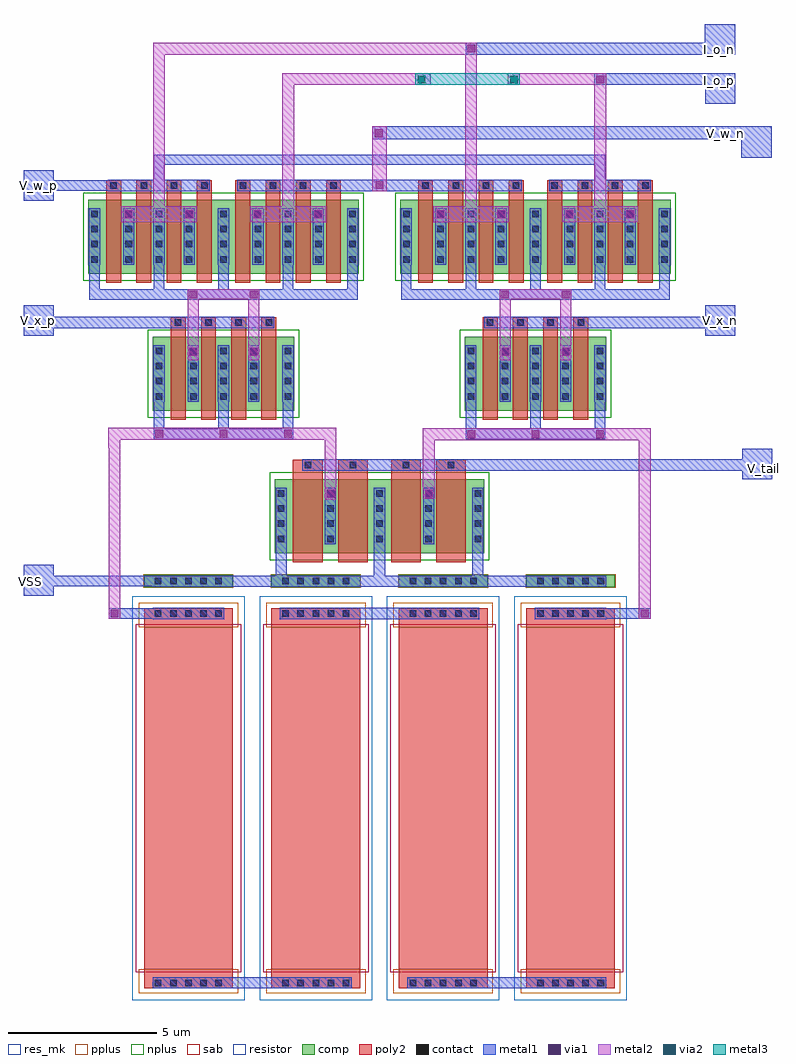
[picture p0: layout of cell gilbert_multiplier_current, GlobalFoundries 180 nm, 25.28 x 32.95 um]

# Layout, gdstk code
from math import pi, radians
import gdstk
lib = gdstk.Library(unit=1e-6, precision=5e-09)
def R(c, l, rs):  # rectangles x0, y0, x1, y1
    for r in rs: c.add(gdstk.rectangle(r[:2], r[2:], *l))
def A(c, l, x, y, w, h, nx, ny, dx, dy):  # array of equal rectangles
    R(c, l, [(x+i*dx, y+j*dy, x+i*dx+w, y+j*dy+h) for i in range(nx) for j in range(ny)])
comp = (22, 0)
poly2 = (30, 0)
pplus = (31, 0)
nplus = (32, 0)
contact = (33, 0)
metal1 = (34, 0)
via1 = (35, 0)
metal2 = (36, 0)
via2 = (38, 0)
metal3 = (42, 0)
sab = (49, 0)
resistor = (62, 0)
res_mk = (110, 5)

nfet_1 = lib.new_cell('nfet$1')
R(nfet_1, comp, [(-0.42,0,0,2.5), (0,0,2.9,2.5), (2.9,0,3.32,2.5)])
R(nfet_1, poly2, [(0.19,-0.3,1.19,2.8), (1.71,-0.3,2.71,2.8), (0.19,2.8,1.19,3.16), (1.71,2.8,2.71,3.16)])
R(nfet_1, nplus, [(-0.59,-0.24,3.49,2.74)])
A(nfet_1, contact, -0.32, 0.375, 0.22, 0.22, 3, 4, 1.66, 0.51)
R(nfet_1, contact, [(0.58,2.87,0.8,3.09), (2.1,2.87,2.32,3.09)])
A(nfet_1, metal1, -0.4, 0.295, 0.38, 1.91, 3, 1, 1.66, 0)
R(nfet_1, metal1, [(0.5,2.79,0.88,3.17), (2.02,2.79,2.4,3.17)])

nfet_2 = lib.new_cell('nfet$2')
R(nfet_2, comp, [(-0.42,0,0,2.5), (0,0,3.94,2.5), (3.94,0,4.36,2.5)])
A(nfet_2, poly2, 0.19, -0.3, 0.5, 3.1, 4, 1, 1.02, 0)
A(nfet_2, poly2, 0.19, 2.8, 0.5, 0.36, 4, 1, 1.02, 0)
R(nfet_2, nplus, [(-0.59,-0.24,4.53,2.74)])
A(nfet_2, contact, -0.32, 0.375, 0.22, 0.22, 1, 4, 0, 0.51)
A(nfet_2, contact, 0.84, 0.375, 0.22, 0.22, 3, 4, 1.02, 0.51)
A(nfet_2, contact, 4.04, 0.375, 0.22, 0.22, 1, 4, 0, 0.51)
A(nfet_2, contact, 0.33, 2.87, 0.22, 0.22, 4, 1, 1.02, 0)
A(nfet_2, metal1, 0.76, 0.295, 0.38, 1.91, 3, 1, 1.02, 0)
A(nfet_2, metal1, 0.25, 2.79, 0.38, 0.38, 4, 1, 1.02, 0)
R(nfet_2, metal1, [(-0.4,0.295,-0.02,2.205), (3.96,0.295,4.34,2.205)])

ppolyf_u_high_rs_resisto = lib.new_cell('ppolyf_u_high_Rs_resistor$1')
R(ppolyf_u_high_rs_resisto, comp, [(-1.76,0,-1.34,3)])
R(ppolyf_u_high_rs_resisto, poly2, [(-0.64,0,12.19,3)])
R(ppolyf_u_high_rs_resisto, pplus, [(-0.82,-0.18,0,3.18), (11.55,-0.18,12.37,3.18), (-1.78,-0.02,-1.32,3.02)])
A(ppolyf_u_high_rs_resisto, contact, -1.66, 0.37, 0.22, 0.22, 1, 5, 0, 0.51)
A(ppolyf_u_high_rs_resisto, contact, -0.57, 0.37, 0.22, 0.22, 1, 5, 0, 0.51)
A(ppolyf_u_high_rs_resisto, contact, 11.9, 0.37, 0.22, 0.22, 1, 5, 0, 0.51)
R(ppolyf_u_high_rs_resisto, metal1, [(-1.74,0.29,-1.36,2.71), (-0.65,0.29,-0.27,2.71), (11.82,0.29,12.2,2.71)])
R(ppolyf_u_high_rs_resisto, sab, [(-0.1,-0.28,11.65,3.28)])
R(ppolyf_u_high_rs_resisto, resistor, [(-1.04,-0.4,12.59,3.4)])
R(ppolyf_u_high_rs_resisto, res_mk, [(0,0,11.55,3)])

gilbert_multiplier_curre = lib.new_cell('gilbert_multiplier_current')
R(gilbert_multiplier_curre, metal1, [(-5.165,-0.265,1.555,0.115), (3.435,-0.265,10.155,0.115), (-0.865,12.205,5.855,12.585), (-9.52,13,-8.495,14.035), (-5.165,13.295,10.155,13.675), (14.745,16.925,15.76,17.96), (-0.115,17.22,5.105,17.6), (-9.52,21.765,-8.495,22.8), (13.485,21.765,14.51,22.8), (-8.495,22.03,-1.05,22.415), (6.04,22.03,13.485,22.415), (-9.52,26.33,-8.495,27.365), (-6.67,26.655,-3.23,27.035), (-2.31,26.655,7.3,27.035), (8.22,26.655,11.66,27.035), (14.715,27.78,15.74,28.84), (2.255,28.405,14.715,28.84), (13.485,29.6,14.51,30.635), (9.745,30.24,13.485,30.64), (5.405,31.26,13.48,31.66), (13.48,31.26,14.505,32.295)])
R(gilbert_multiplier_curre, via1, [(-6.585,12.265,-6.325,12.525), (11.32,12.265,11.58,12.525), (0.72,16.305,0.98,16.565), (4.035,16.305,4.295,16.565), (5.46,18.315,5.72,18.575), (7.63,18.315,7.89,18.575), (9.81,18.315,10.07,18.575), (-5.07,18.33,-4.81,18.59), (-2.9,18.33,-2.64,18.59), (-0.72,18.33,-0.46,18.59), (-3.925,21.1,-3.665,21.36), (-1.88,21.1,-1.62,21.36), (6.615,21.1,6.875,21.36), (8.66,21.1,8.92,21.36), (-3.925,23.03,-3.665,23.29), (-1.88,23.03,-1.62,23.29), (6.605,23.03,6.865,23.29), (8.65,23.03,8.91,23.29), (-6.11,25.74,-5.85,26), (-4.055,25.74,-3.795,26), (-1.75,25.74,-1.49,26), (0.3,25.74,0.56,26), (4.42,25.74,4.68,26), (6.475,25.74,6.735,26), (8.78,25.74,9.04,26), (10.83,25.74,11.09,26), (2.37,26.725,2.63,26.985), (2.34,28.48,2.6,28.74), (9.82,30.295,10.08,30.555), (5.46,31.34,5.72,31.6)])
R(gilbert_multiplier_curre, metal2, [(-6.65,12.22,-6.255,17.99), (11.25,12.22,11.645,17.99), (-3.98,20.935,-3.6,23.01), (-1.94,20.935,-1.56,23.01), (6.55,20.935,6.93,23.01), (8.59,20.935,8.97,23.01), (-3.98,23.01,-1.56,23.335), (6.55,23.01,8.97,23.335), (-6.23,25.595,-3.67,26.15), (-1.87,25.595,0.69,26.15), (4.305,25.595,6.865,26.15), (8.665,25.595,11.225,26.15), (2.255,26.655,2.735,28.84)])
R(gilbert_multiplier_curre, via2, [(3.78,30.295,4.04,30.555), (6.905,30.295,7.165,30.555)])
R(gilbert_multiplier_curre, metal3, [(3.71,30.24,7.23,30.64)])
gilbert_multiplier_curre.add(gdstk.FlexPath([(5.105,17.41),(14.745,17.41)], 0.38, ends="flush", simple_path=True, layer=34, datatype=0))  # metal1
gilbert_multiplier_curre.add(gdstk.FlexPath([(-0.825,14.725),(-0.825,13.675)], 0.38, ends="flush", simple_path=True, layer=34, datatype=0))  # metal1
gilbert_multiplier_curre.add(gdstk.FlexPath([(-5.165,13.485),(-8.985,13.485)], 0.35, ends="flush", simple_path=True, layer=34, datatype=0))  # metal1
gilbert_multiplier_curre.add(gdstk.FlexPath([(-4.95,19.535),(-4.95,18.455),(-0.59,18.455),(-0.59,19.535)], 0.35, ends="flush", simple_path=True, layer=34, datatype=0))  # metal1
gilbert_multiplier_curre.add(gdstk.FlexPath([(-2.77,19.535),(-2.77,18.63)], 0.35, ends="flush", simple_path=True, layer=34, datatype=0))  # metal1
gilbert_multiplier_curre.add(gdstk.FlexPath([(5.58,19.535),(5.58,18.455),(9.94,18.455),(9.94,19.535)], 0.35, ends="flush", simple_path=True, layer=34, datatype=0))  # metal1
gilbert_multiplier_curre.add(gdstk.FlexPath([(7.76,19.535),(7.76,18.63)], 0.35, ends="flush", simple_path=True, layer=34, datatype=0))  # metal1
gilbert_multiplier_curre.add(gdstk.FlexPath([(-7.13,24.16),(-7.13,23.16),(1.59,23.16),(1.59,24.16),(1.59,24.16)], 0.35, ends="flush", simple_path=True, layer=34, datatype=0))  # metal1
gilbert_multiplier_curre.add(gdstk.FlexPath([(3.4,24.16),(3.4,23.16),(12.12,23.16),(12.12,24.16),(12.12,24.16)], 0.35, ends="flush", simple_path=True, layer=34, datatype=0))  # metal1
gilbert_multiplier_curre.add(gdstk.FlexPath([(-4.95,24.16),(-4.95,23.335)], 0.35, ends="flush", simple_path=True, layer=34, datatype=0))  # metal1
gilbert_multiplier_curre.add(gdstk.FlexPath([(-2.77,24.16),(-2.77,23.335)], 0.35, ends="flush", simple_path=True, layer=34, datatype=0))  # metal1
gilbert_multiplier_curre.add(gdstk.FlexPath([(-0.59,24.16),(-0.59,23.335)], 0.35, ends="flush", simple_path=True, layer=34, datatype=0))  # metal1
gilbert_multiplier_curre.add(gdstk.FlexPath([(5.58,24.16),(5.58,23.335)], 0.35, ends="flush", simple_path=True, layer=34, datatype=0))  # metal1
gilbert_multiplier_curre.add(gdstk.FlexPath([(7.76,24.16),(7.76,23.335)], 0.35, ends="flush", simple_path=True, layer=34, datatype=0))  # metal1
gilbert_multiplier_curre.add(gdstk.FlexPath([(9.94,24.16),(9.94,23.335)], 0.35, ends="flush", simple_path=True, layer=34, datatype=0))  # metal1
gilbert_multiplier_curre.add(gdstk.FlexPath([(-6.67,26.845),(-8.495,26.845)], 0.35, ends="flush", simple_path=True, layer=34, datatype=0))  # metal1
gilbert_multiplier_curre.add(gdstk.FlexPath([(9.94,27.035),(9.94,27.71),(-4.95,27.71),(-4.95,27.035)], 0.35, ends="flush", simple_path=True, layer=34, datatype=0))  # metal1
gilbert_multiplier_curre.add(gdstk.FlexPath([(10.155,12.395),(11.645,12.395)], 0.35, ends="flush", simple_path=True, layer=34, datatype=0))  # metal1
gilbert_multiplier_curre.add(gdstk.FlexPath([(2.495,14.725),(2.495,13.675)], 0.38, ends="flush", simple_path=True, layer=34, datatype=0))  # metal1
gilbert_multiplier_curre.add(gdstk.FlexPath([(5.815,14.725),(5.815,13.675)], 0.38, ends="flush", simple_path=True, layer=34, datatype=0))  # metal1
gilbert_multiplier_curre.add(gdstk.FlexPath([(-5.165,12.395),(-6.65,12.395)], 0.35, ends="flush", simple_path=True, layer=34, datatype=0))  # metal1
gilbert_multiplier_curre.add(gdstk.FlexPath([(-4.95,26.15),(-4.95,31.46),(5.585,31.46),(5.585,26.15)], 0.4, ends="flush", simple_path=True, layer=36, datatype=0))  # metal2
gilbert_multiplier_curre.add(gdstk.FlexPath([(9.945,26.15),(9.945,30.44),(6.825,30.44)], 0.4, ends="flush", simple_path=True, layer=36, datatype=0))  # metal2
gilbert_multiplier_curre.add(gdstk.FlexPath([(-0.59,29.025),(-0.59,30.44),(4.225,30.44)], 0.4, ends="flush", simple_path=True, layer=36, datatype=0))  # metal2
gilbert_multiplier_curre.add(gdstk.FlexPath([(-6.455,17.99),(-6.455,18.46),(0.84,18.46),(0.84,16.235)], 0.4, ends="flush", simple_path=True, layer=36, datatype=0))  # metal2
gilbert_multiplier_curre.add(gdstk.FlexPath([(11.45,17.99),(11.45,18.445),(4.155,18.445),(4.155,16.26)], 0.4, ends="flush", simple_path=True, layer=36, datatype=0))  # metal2
gilbert_multiplier_curre.add(gdstk.FlexPath([(-0.59,26.15),(-0.59,29.025)], 0.4, ends="flush", simple_path=True, layer=36, datatype=0))  # metal2
gilbert_multiplier_curre.add(gdstk.Reference(nfet_1, (-0.615,14.43)))
gilbert_multiplier_curre.add(gdstk.Reference(nfet_1, (2.705,14.43)))
gilbert_multiplier_curre.add(gdstk.Reference(nfet_2, (-4.74,19.24)))
gilbert_multiplier_curre.add(gdstk.Reference(nfet_2, (5.79,19.24)))
gilbert_multiplier_curre.add(gdstk.Reference(nfet_2, (3.61,23.865)))
gilbert_multiplier_curre.add(gdstk.Reference(nfet_2, (7.97,23.865)))
gilbert_multiplier_curre.add(gdstk.Reference(nfet_2, (-6.92,23.865)))
gilbert_multiplier_curre.add(gdstk.Reference(nfet_2, (-2.56,23.865)))
gilbert_multiplier_curre.add(gdstk.Reference(ppolyf_u_high_rs_resisto, (3.145,11.935), rotation=3*pi/2))
gilbert_multiplier_curre.add(gdstk.Reference(ppolyf_u_high_rs_resisto, (7.445,11.935), rotation=3*pi/2))
gilbert_multiplier_curre.add(gdstk.Reference(ppolyf_u_high_rs_resisto, (-5.455,11.935), rotation=3*pi/2))
gilbert_multiplier_curre.add(gdstk.Reference(ppolyf_u_high_rs_resisto, (-1.155,11.935), rotation=3*pi/2))
gilbert_multiplier_curre.add(gdstk.Label('I_o_p', (13.985,30.395), layer=34, texttype=10))
gilbert_multiplier_curre.add(gdstk.Label('I_o_n', (13.985,31.42), layer=34, texttype=10))
gilbert_multiplier_curre.add(gdstk.Label('V_w_n', (14.185,28.615), layer=34, texttype=10))
gilbert_multiplier_curre.add(gdstk.Label('V_tail', (15.445,17.295), layer=34, texttype=10))
gilbert_multiplier_curre.add(gdstk.Label('VSS', (-9.275,13.465), layer=34, texttype=10))
gilbert_multiplier_curre.add(gdstk.Label('V_x_p', (-9.01,22.28), layer=34, texttype=10))
gilbert_multiplier_curre.add(gdstk.Label('V_x_n', (13.995,22.28), layer=34, texttype=10))
gilbert_multiplier_curre.add(gdstk.Label('V_w_p', (-9.01,26.845), layer=34, texttype=10))

lib.write_gds('gilbert_multiplier_current.gds')
